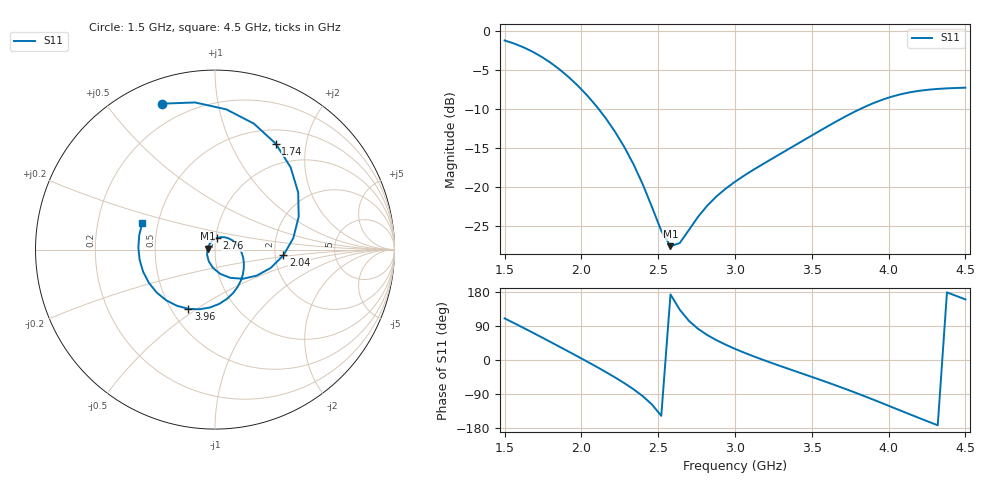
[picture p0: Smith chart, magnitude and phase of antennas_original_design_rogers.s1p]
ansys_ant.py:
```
import skrf as rf
import numpy as np
import matplotlib.pyplot as plt
from scipy.constants import c

import pandas as pd

def main():
  
  ant_s_path = "C:\\Users\\kamaj\\code\\Phased-Array\\src\\ansys\\antennas_original_design_rogers.s1p"
  ant_s_net = rf.Network(ant_s_path)
  
  f = ant_s_net.f / 1e9
  s_db = ant_s_net.s_db[:, 0, 0]
  
  fig = plt.figure(figsize=(6, 5))
  ax = fig.add_subplot(1, 1, 1)
  ax.plot(f, s_db, linestyle='-', color='C0')
  ax.set_xlim(2, 4)
  ax.set_ylim(-30, 0)
  ax.grid()
  ax.set_xlabel("Frequency (GHz)")
  ax.set_ylabel("S11 (dB)")
  ax.set_title("HFSS Simulation Results")
  
  # plt.show()
  
  gain_data_path = "C:\\Users\\kamaj\\code\\Phased-Array\\src\\ansys\\2d_gain.csv"
  gain_df = pd.read_csv(gain_data_path)
  labels = gain_df.columns.tolist()
  print(labels)
  
  gain_df_24_0 = gain_df[(gain_df[labels[0]] == 2.4) & (gain_df[labels[1]] == 0)].to_numpy()
  gain_df_24_90 = gain_df[(gain_df[labels[0]] == 2.4) & (gain_df[labels[1]] == 90)].to_numpy()
  gain_df_3_0 = gain_df[(gain_df[labels[0]] == 3.0) & (gain_df[labels[1]] == 0)].to_numpy()
  gain_df_3_90 = gain_df[(gain_df[labels[0]] == 3.0) & (gain_df[labels[1]] == 90)].to_numpy()
  
  fig = plt.figure(figsize=(10, 5))
  ax1 = fig.add_subplot(1, 2, 1, projection='polar')
  ax1.set_theta_zero_location("N")
  ax2 = fig.add_subplot(1, 2, 2, projection='polar')
  ax2.set_theta_zero_location("N")
  
  ax1.plot(np.radians(gain_df_24_0[:, 2]), gain_df_24_0[:, 3], linestyle='-', color='C0', label='XZ Plane')
  ax1.plot(np.radians(gain_df_24_90[:, 2]), gain_df_24_90[:, 3], linestyle='--', color='C1', label='YZ Plane')
  ax1.set_title("Antenna Gain at 2.4 GHz")
  ax1.set_xlabel("Angle (degrees)")
  ax1.set_ylabel("Gain (dBi)")
  ax1.legend()
  ax1.grid(True)
  plt.grid(True)
  
  ax2.plot(np.radians(gain_df_3_0[:, 2]), gain_df_3_0[:, 3], linestyle='-', color='C0', label='XZ Plane')
  ax2.plot(np.radians(gain_df_3_90[:, 2]), gain_df_3_90[:, 3], linestyle='--', color='C1', label='YZ Plane')
  ax2.set_title("Antenna Gain at 3.0 GHz")
  ax2.set_xlabel("Angle (degrees)")
  ax2.set_ylabel("Gain (dBi)")
  ax2.legend()
  ax2.grid()
  plt.grid(True)
  
  plt.show()
  
if __name__ == "__main__":
  main()
```
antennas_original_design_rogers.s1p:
! Touchstone file exported from HFSS 2025.2.0
!  File:  C:/Users/kamaj/Documents/Ansoft/antennas.aedt
!  Generated:  02:57:29 AM Dec 28, 2025
!  Design:  original_design_rogers
!  Project:  antennas
!  Setup:  Setup
!  Solution:  Sweep
! Variables:
!  QW = 150mm
!  air_x = 200mm
!  air_y = 200mm
!  air_z = 200mm
!  antenna_substrate_length = 30mm
!  circ_patch_length = 2.85mm
!  feed_short = 0.1mm
!  feed_substrate_length = 30mm
!  feed_taper_length = 2.85mm
!  feed_width = 1.1mm
!  patch_feed_width = 0.5mm
!  patch_ground_spacing = 0.5mm
!  patch_length = 20mm
!  patch_width = 14mm
!  substrate_height = 0.508mm
!  substrate_width = 50mm
# GHz S MA R 50.000000
! Terminal data exported
! Port[1] = rect_patch_T1
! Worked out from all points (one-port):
!   51 points, 1.5 GHz to 4.5 GHz, reference 50 ohm
!   lowest |S11| = -27.6 dB at 2.58 GHz (marker M1), VSWR 1.09, Z = 46 + j0.464 ohm
!   |S11| at or under -10 dB: 2.111 GHz to 3.818 GHz (1.707 GHz wide, 57.6 % of centre)
!   S11 on the Smith chart (normalised r, x): 1.5 GHz: 0.11, +0.70; 1.74 GHz: 0.68, +1.50; 2.04 GHz: 2.22, -0.17; 2.76 GHz: 1.01, +0.13; 3.96 GHz: 0.61, -0.46; 4.5 GHz: 0.41, +0.15
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1.5  0.8644 109.8
! Gamma 0 0
! Port Impedance 50 0
1.62  0.7839 85.4
1.74  0.6803 60.2
1.86  0.5622 34.5
2.04  0.3827 -4.8
2.22  0.2248 -46.2
2.52  0.05255 -147.3
2.58  0.04192 173.1
2.76  0.06469 82.1
3.12  0.129 9.9
3.54  0.2251 -50.2
3.96  0.3618 -114.2
4.26  0.419 -162.8
4.5  0.4314 159.9
